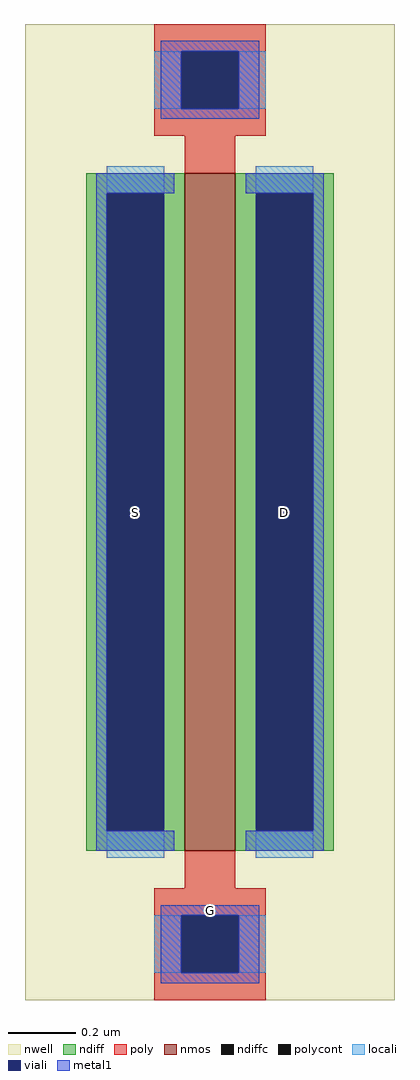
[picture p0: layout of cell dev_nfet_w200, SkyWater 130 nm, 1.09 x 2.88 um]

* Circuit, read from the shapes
.subckt dev_nfet_w200 G S D
XM1 D G S VSUBS sky130_fd_pr__nfet_01v8 w=2 l=0.15
.ends

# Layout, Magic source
magic
tech sky130B
magscale 1 2
<< nwell >>
rect -109 -288 109 288
<< nmos >>
rect -15 -200 15 200
<< ndiff >>
rect -73 -200 -15 200
rect 15 -200 73 200
<< ndiffc >>
rect -61 -188 -27 188
rect 27 -188 61 188
<< poly >>
rect -15 200 15 222
rect -33 222 33 238
rect -33 238 -17 272
rect 17 238 33 272
rect -33 272 33 288
rect -15 -222 15 -200
rect -33 -238 33 -222
rect -33 -272 -17 -238
rect 17 -272 33 -238
rect -33 -288 33 -272
<< polycont >>
rect -17 238 17 272
rect -17 -272 17 -238
<< locali >>
rect -33 238 -17 272
rect 17 238 33 272
rect -61 188 -27 204
rect 27 188 61 204
rect -61 -204 -27 -188
rect 27 -204 61 -188
rect -33 -272 -17 -238
rect 17 -272 33 -238
<< viali >>
rect -17 238 17 272
rect -61 -188 -27 188
rect 27 -188 61 188
rect -17 -272 17 -238
<< metal1 >>
rect -29 272 29 278
rect -29 238 -17 272
rect 17 238 29 272
rect -29 232 29 238
rect -67 188 -21 200
rect -67 -188 -61 188
rect -67 -200 -21 -188
rect 21 188 67 200
rect 61 -188 67 188
rect 21 -200 67 -188
rect -29 -238 29 -232
rect -29 -272 -17 -238
rect 17 -272 29 -238
rect -29 -278 29 -272
<< labels >>
flabel metal1 s -29 -238 29 -232 0 FreeSans 16 0 0 0 G
port 0 nsew
flabel metal1 s -67 -100 -21 100 0 FreeSans 16 0 0 0 S
port 1 nsew
flabel metal1 s 21 -100 67 100 0 FreeSans 16 0 0 0 D
port 2 nsew
<< end >>
